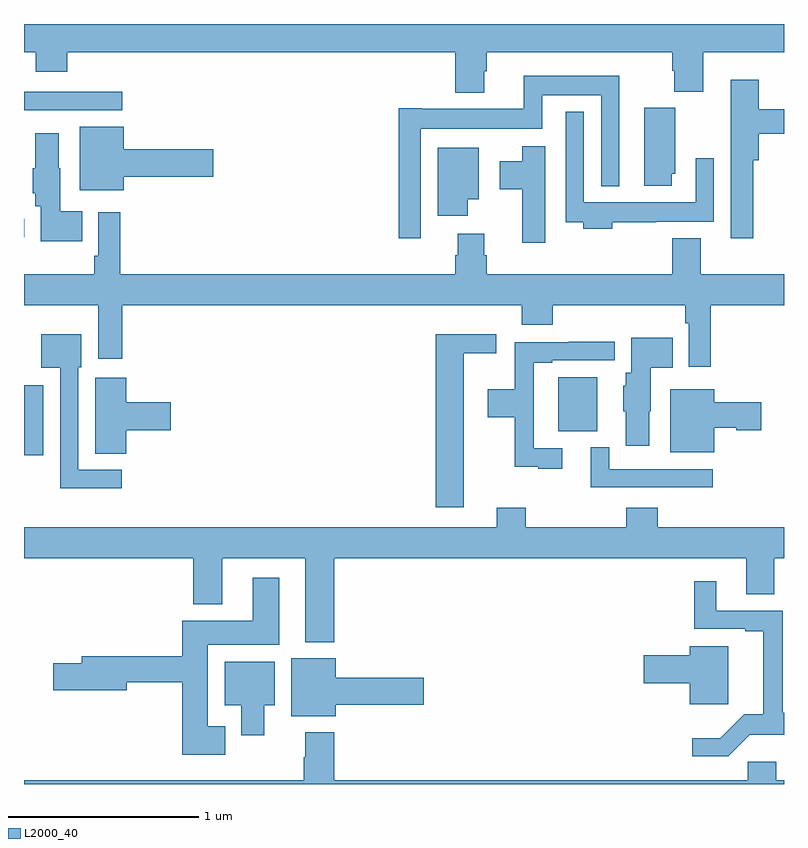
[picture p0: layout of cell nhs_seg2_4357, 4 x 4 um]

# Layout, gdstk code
import gdstk
lib = gdstk.Library(unit=1e-6, precision=1e-09)
def R(c, l, rs):  # rectangles x0, y0, x1, y1
    for r in rs: c.add(gdstk.rectangle(r[:2], r[2:], *l))
def P(c, l, *ps):  # polygons
    for p in ps: c.add(gdstk.Polygon(p, *l))
L2000_40 = (2000, 40)

nhs_seg2_4357 = lib.new_cell('nhs_seg2_4357')
R(nhs_seg2_4357, L2000_40, [(347,629.529,347.101,629.899), (349.811,629.657,350.017,629.941), (347,630.677,347.002,630.774), (347,631.347,347.518,631.443)])
P(nhs_seg2_4357, L2000_40, [(349.423,631.551),(349.436,631.551),(349.436,631.652),(350.411,631.652),(350.411,631.553),(350.423,631.553),(350.423,631.444),(350.576,631.444),(350.576,631.652),(351,631.652),(351,631.8),(347,631.8),(347,631.652),(347.063,631.652),(347.063,631.55),(347.228,631.55),(347.228,631.652),(349.271,631.652),(349.271,631.439),(349.423,631.439)],
  [(349.089,631.25),(349.728,631.25),(349.728,631.424),(350.037,631.424),(350.037,630.947),(350.134,630.947),(350.134,631.528),(349.631,631.528),(349.631,631.354),(349.096,631.354),(349.096,631.357),(348.973,631.357),(348.973,630.672),(349.089,630.672)],
  [(350.837,631.082),(350.867,631.082),(350.867,631.222),(351,631.222),(351,631.351),(350.867,631.351),(350.867,631.507),(350.72,631.507),(350.72,631.245),(350.721,631.245),(350.721,630.672),(350.837,630.672)],
  [(350.41,631.011),(350.428,631.011),(350.428,631.359),(350.264,631.359),(350.264,630.948),(350.41,630.948)],
  [(350.096,630.756),(350.327,630.756),(350.327,630.758),(350.631,630.758),(350.631,631.093),(350.535,631.093),(350.535,630.862),(349.947,630.862),(349.947,631.339),(349.851,631.339),(349.851,630.756),(349.943,630.756),(349.943,630.722),(350.096,630.722)],
  [(347.524,630.995),(347.995,630.995),(347.995,631.142),(347.524,631.142),(347.524,631.258),(347.294,631.258),(347.294,630.926),(347.524,630.926)],
  [(347.306,630.814),(347.191,630.814),(347.191,631.041),(347.182,631.041),(347.182,631.225),(347.06,631.225),(347.06,631.041),(347.045,631.041),(347.045,630.909),(347.06,630.909),(347.06,630.84),(347.087,630.84),(347.087,630.656),(347.306,630.656)],
  [(349.744,631.156),(349.622,631.156),(349.622,631.078),(349.505,631.078),(349.505,630.931),(349.622,630.931),(349.622,630.648),(349.744,630.648)],
  [(349.336,630.878),(349.393,630.878),(349.393,631.15),(349.178,631.15),(349.178,630.792),(349.336,630.792)],
  [(350.615,630.32),(351,630.32),(351,630.484),(350.563,630.484),(350.563,630.673),(350.411,630.673),(350.411,630.484),(349.436,630.484),(349.436,630.582),(349.423,630.582),(349.423,630.697),(349.283,630.697),(349.283,630.582),(349.271,630.582),(349.271,630.484),(347.507,630.484),(347.507,630.808),(347.391,630.808),(347.391,630.58),(347.371,630.58),(347.371,630.484),(347,630.484),(347,630.32),(347.39,630.32),(347.39,630.039),(347.516,630.039),(347.516,630.32),(349.619,630.32),(349.619,630.218),(349.784,630.218),(349.784,630.32),(350.479,630.32),(350.479,630.224),(350.499,630.224),(350.499,629.997),(350.615,629.997)],
  [(349.315,630.068),(349.486,630.068),(349.486,630.166),(349.166,630.166),(349.166,629.256),(349.315,629.256)],
  [(347.515,629.454),(347.286,629.454),(347.286,629.994),(347.302,629.994),(347.302,630.166),(347.09,630.166),(347.09,629.99),(347.19,629.99),(347.19,629.357),(347.515,629.357)],
  [(350.29,629.763),(350.299,629.763),(350.299,629.99),(350.414,629.99),(350.414,630.148),(350.195,630.148),(350.195,629.964),(350.168,629.964),(350.168,629.895),(350.153,629.895),(350.153,629.763),(350.168,629.763),(350.168,629.58),(350.29,629.58)],
  [(349.834,629.568),(349.683,629.568),(349.683,630.018),(349.78,630.018),(349.78,630.03),(350.11,630.03),(350.11,630.128),(349.867,630.128),(349.867,630.126),(349.582,630.126),(349.582,629.878),(349.44,629.878),(349.44,629.731),(349.582,629.731),(349.582,629.471),(349.706,629.471),(349.706,629.46),(349.834,629.46)],
  [(347.537,629.663),(347.773,629.663),(347.773,629.81),(347.537,629.81),(347.537,629.938),(347.375,629.938),(347.375,629.539),(347.537,629.539)],
  [(350.632,629.675),(350.748,629.675),(350.748,629.663),(350.881,629.663),(350.881,629.81),(350.632,629.81),(350.632,629.878),(350.402,629.878),(350.402,629.546),(350.632,629.546)],
  [(350.626,629.457),(350.079,629.457),(350.079,629.572),(349.982,629.572),(349.982,629.361),(350.626,629.361)],
  [(348.632,628.988),(350.801,628.988),(350.801,628.798),(350.949,628.798),(350.949,628.988),(351,628.988),(351,629.152),(350.336,629.152),(350.336,629.254),(350.171,629.254),(350.171,629.152),(349.64,629.152),(349.64,629.254),(349.487,629.254),(349.487,629.152),(347,629.152),(347,628.988),(347.891,628.988),(347.891,628.745),(348.043,628.745),(348.043,628.988),(348.479,628.988),(348.479,628.547),(348.632,628.547)],
  [(348.058,628.105),(347.968,628.105),(347.968,628.532),(348.343,628.532),(348.343,628.885),(348.203,628.885),(348.203,628.66),(347.834,628.66),(347.834,628.472),(347.303,628.472),(347.303,628.436),(347.154,628.436),(347.154,628.294),(347.542,628.294),(347.542,628.336),(347.834,628.336),(347.834,627.953),(348.058,627.953)],
  [(350.819,628.058),(351,628.058),(351,628.175),(350.993,628.175),(350.993,628.713),(350.644,628.713),(350.644,628.867),(350.527,628.867),(350.527,628.617),(350.795,628.617),(350.795,628.605),(350.891,628.605),(350.891,628.168),(350.791,628.168),(350.665,628.042),(350.517,628.042),(350.517,627.945),(350.706,627.945)],
  [(350.707,628.525),(350.504,628.525),(350.504,628.478),(350.262,628.478),(350.262,628.331),(350.504,628.331),(350.504,628.22),(350.707,628.22)],
  [(348.64,628.216),(349.105,628.216),(349.105,628.358),(348.64,628.358),(348.64,628.462),(348.407,628.462),(348.407,628.157),(348.64,628.157)],
  [(348.265,628.214),(348.319,628.214),(348.319,628.444),(348.056,628.444),(348.056,628.214),(348.143,628.214),(348.143,628.056),(348.265,628.056)],
  [(351,627.82),(350.959,627.82),(350.959,627.918),(350.808,627.918),(350.808,627.82),(348.632,627.82),(348.632,628.072),(348.479,628.072),(348.479,627.941),(348.472,627.941),(348.472,627.82),(347,627.82),(347,627.8),(351,627.8)])

lib.write_gds('nhs_seg2_4357.gds')
